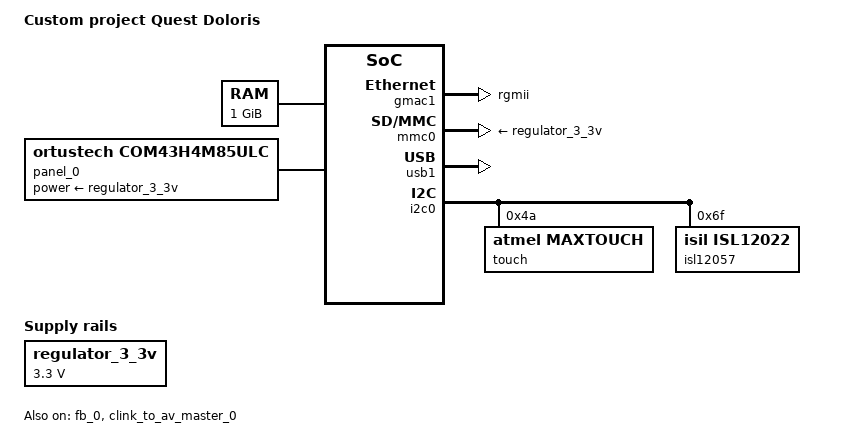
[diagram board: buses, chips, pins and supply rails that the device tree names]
/*
 *  Copyright (C) 2013 Steffen Trumtrar <s.trumtrar@pengutronix.de>
 *
 * This program is free software; you can redistribute it and/or modify
 * it under the terms of the GNU General Public License as published by
 * the Free Software Foundation; either version 2 of the License, or
 * (at your option) any later version.
 *
 * This program is distributed in the hope that it will be useful,
 * but WITHOUT ANY WARRANTY; without even the implied warranty of
 * MERCHANTABILITY or FITNESS FOR A PARTICULAR PURPOSE.  See the
 * GNU General Public License for more details.
 *
 * You should have received a copy of the GNU General Public License
 * along with this program.  If not, see <http://www.gnu.org/licenses/>.
 */

/dts-v1/;
#include "socfpga_cyclone5.dtsi"
#include <dt-bindings/interrupt-controller/irq.h>

/ {
	model = "Custom project Quest Doloris";
	compatible = "altr,socfpga-cyclone5", "altr,socfpga";

	chosen {
		bootargs = "console=ttyS0,115200";
	};

	memory {
		name = "memory";
		device_type = "memory";
		reg = <0x0 0x40000000>; /* 1GB */
	};

	aliases {
		/* this allow the ethaddr uboot environmnet variable contents
		 * to be added to the gmac1 device tree blob.
		 */
		ethernet0 = &gmac1;
	};



	panel_0: panel {
		compatible = "ortustech,com43h4m85ulc";
	//	compatible = "innolux,g121x1-l03";
	//	compatible = "edt,et057090dhu";
		power-supply = <&regulator_3_3v>;
	};

	regulator_3_3v: vcc3p3-regulator {
		compatible = "regulator-fixed";
		regulator-name = "VCC3P3";
		regulator-min-microvolt = <3300000>;
		regulator-max-microvolt = <3300000>;
	};
};

&fpga_bridge1{
	ranges = <0x00000000 0x000044c0 0xc00044c0 0x00000040>,
		<0x00000000 0x00004480 0xc0004480 0x00000040>,
		<0x00000000 0x00000000 0xc0000000 0x00004000>,
		<0x00000000 0x00004440 0xc0004440 0x00000040>,
		<0x00000000 0x00004400 0xc0004400 0x00000040>,
		<0x00000000 0x00004500 0xc0004500 0x00000010>,
		<0x00000000 0x00004000 0xc0004000 0x00000400>;
};

&gmac1 {
	status = "okay";
	phy-mode = "rgmii";

	rxd0-skew-ps = <0>;
	rxd1-skew-ps = <0>;
	rxd2-skew-ps = <0>;
	rxd3-skew-ps = <0>;
	txen-skew-ps = <0>;
	txc-skew-ps = <2600>;
	rxdv-skew-ps = <0>;
	rxc-skew-ps = <2000>;
};

&mmc0 {
	vmmc-supply = <&regulator_3_3v>;
	vqmmc-supply = <&regulator_3_3v>;
	status = "okay";
};

&usb1 {
	status = "okay";
};

&qspi {
	status = "disabled";

	flash0: n25q00@0 {
		#address-cells = <1>;
		#size-cells = <1>;
		compatible = "n25q00";
		reg = <0>;
		spi-max-frequency = <100000000>;
		cdns,page-size = <256>;
		cdns,block-size = <16>;
		m25p,fast-read;
		cdns,read-delay = <4>;
		cdns,tshsl-ns = <50>;
		cdns,tsd2d-ns = <50>;
		cdns,tchsh-ns = <4>;
		cdns,tslch-ns = <4>;

		part0: partition@0 {
			label = "Flash 0 Raw Data";
			reg = < 0x00000000 0x01000000 >;
		};

		part1: partition@800000 {
			label = "Flash 1 jffs2 Filesystem";
			reg = < 0x01000000 0x03000000 >;
		};
	};
};

&gpio1 {
	status = "okay";
};

&gpio2 {
	status = "okay";
};

&i2c0 {
	status = "okay";
	touch@4a {
		compatible = "atmel,maxtouch";
		reg = <0x4a>;
//		interrupt-parent = <&gpio4>;
//		interrupts = <0>;
//		interrupt-parent = <&portb>;
//		interrupts = <22 IRQ_TYPE_EDGE_FALLING>;
//		interrupt-parent = <&portc>;
//		interrupts = <3 IRQ_TYPE_EDGE_RISING>;
	};
	isl12057: isl12057@6F {
		compatible = "isil,isl12022";
		reg = <0x6F>;
	};

};

&spi0 {
	status = "disabled";
	spidev@0 {
		compatible = "spidev";
		reg = <0>;
		spi-max-frequency = <1000000>;
	};
};

&fb_0{
	status = "okay";
	ports {
		#address-cells = <1>;
		#size-cells = <0>;
		
		port@1 {
			reg = <1>;
			fb_output: endpoint {
			        remote-endpoint = <&panel_0>;
			};
		};
	};
};


&clink_to_av_master_0 {
	compatible = "quest,quest-dma-ctrl-1.00.a";
	dmas = <&pdma 0>;
	dma-names = "pdma";
	interrupt-parent = <&portc>;
	interrupts = <3 IRQ_TYPE_EDGE_FALLING>;
	status = "okay";
};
